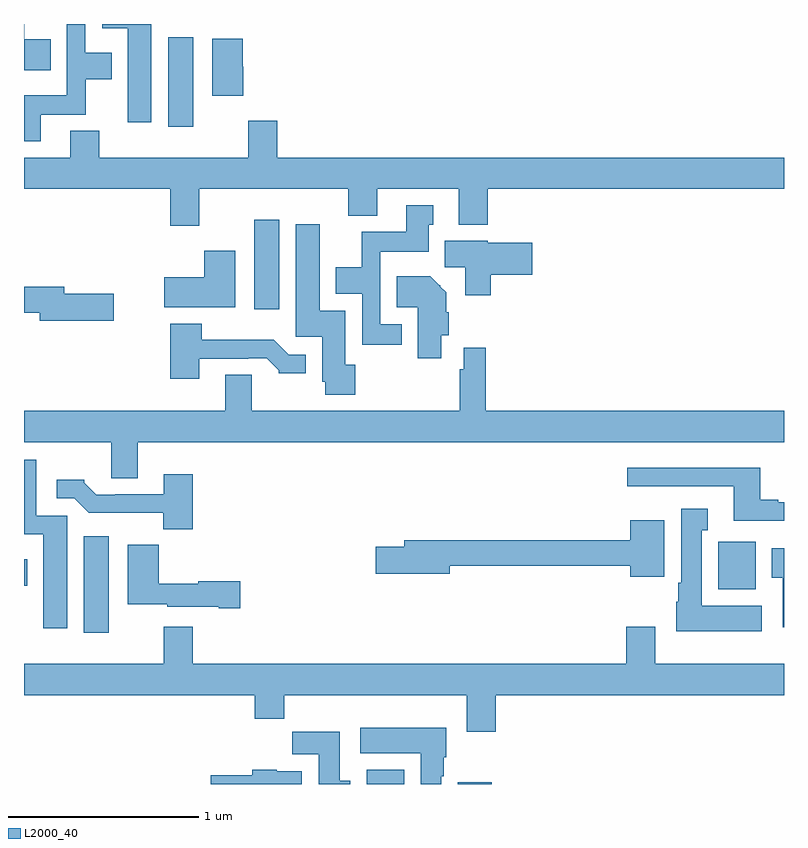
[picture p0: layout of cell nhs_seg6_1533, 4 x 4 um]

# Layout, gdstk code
import gdstk
lib = gdstk.Library(unit=1e-6, precision=1e-09)
def R(c, l, rs):  # rectangles x0, y0, x1, y1
    for r in rs: c.add(gdstk.rectangle(r[:2], r[2:], *l))
def P(c, l, *ps):  # polygons
    for p in ps: c.add(gdstk.Polygon(p, *l))
L2000_40 = (2000, 40)

nhs_seg6_1533 = lib.new_cell('nhs_seg6_1533')
R(nhs_seg6_1533, L2000_40, [(204.803,981.5,205,981.574), (205.283,981.5,205.462,981.508), (203.315,982.296,203.446,982.804), (206.655,982.526,206.851,982.776), (203,982.544,203.017,982.684), (204.212,984,204.343,984.469), (203.759,984.96,203.89,985.429)])
P(nhs_seg6_1533, L2000_40, [(203.671,985.5),(203.412,985.5),(203.412,985.478),(203.546,985.478),(203.546,984.984),(203.671,984.984)],
  [(203.089,985.022),(203.325,985.022),(203.325,985.208),(203.461,985.208),(203.461,985.348),(203.322,985.348),(203.322,985.5),(203.226,985.5),(203.226,985.126),(203,985.126),(203,984.882),(203.089,984.882)],
  [(203.141,985.42),(203.002,985.42),(203.002,985.5),(203,985.5),(203,985.256),(203.141,985.256)],
  [(204.154,985.275),(204.152,985.275),(204.152,985.423),(203.99,985.423),(203.99,985.122),(204.154,985.122)],
  [(203.923,984.632),(204.707,984.632),(204.707,984.491),(204.859,984.491),(204.859,984.632),(205.289,984.632),(205.289,984.443),(205.442,984.443),(205.442,984.632),(207,984.632),(207,984.796),(204.332,984.796),(204.332,984.991),(204.179,984.991),(204.179,984.796),(203.396,984.796),(203.396,984.937),(203.243,984.937),(203.243,984.796),(203,984.796),(203,984.632),(203.771,984.632),(203.771,984.438),(203.923,984.438)],
  [(204.988,983.919),(204.876,983.919),(204.876,984.302),(205.129,984.302),(205.129,984.444),(205.153,984.444),(205.153,984.547),(205.013,984.547),(205.013,984.406),(204.778,984.406),(204.778,984.22),(204.641,984.22),(204.641,984.08),(204.78,984.08),(204.78,983.811),(204.988,983.811)],
  [(204.743,983.706),(204.691,983.706),(204.691,983.992),(204.556,983.992),(204.556,984.445),(204.431,984.445),(204.431,983.853),(204.569,983.853),(204.569,983.616),(204.586,983.616),(204.586,983.55),(204.743,983.55)],
  [(205.457,984.179),(205.675,984.179),(205.675,984.349),(205.44,984.349),(205.44,984.358),(205.214,984.358),(205.214,984.219),(205.322,984.219),(205.322,984.072),(205.457,984.072)],
  [(204.112,984.307),(203.948,984.307),(203.948,984.166),(203.739,984.166),(203.739,984.008),(204.112,984.008)],
  [(205.195,983.862),(205.235,983.862),(205.235,983.984),(205.222,983.984),(205.222,984.087),(205.191,984.118),(205.191,984.126),(205.185,984.126),(205.139,984.172),(204.961,984.172),(204.961,984.008),(205.073,984.008),(205.073,983.742),(205.195,983.742)],
  [(203.473,984.08),(203.212,984.08),(203.212,984.116),(203,984.116),(203,983.98),(203.084,983.98),(203.084,983.938),(203.473,983.938)],
  [(203.923,983.739),(204.179,983.739),(204.179,983.742),(204.278,983.742),(204.342,983.678),(204.342,983.663),(204.484,983.663),(204.484,983.76),(204.393,983.76),(204.315,983.839),(203.936,983.839),(203.936,983.923),(203.771,983.923),(203.771,983.634),(203.923,983.634)],
  [(203.599,983.3),(207,983.3),(207,983.464),(205.43,983.464),(205.43,983.797),(205.314,983.797),(205.314,983.684),(205.294,983.684),(205.294,983.464),(204.199,983.464),(204.199,983.654),(204.059,983.654),(204.059,983.464),(203,983.464),(203,983.3),(203.459,983.3),(203.459,983.11),(203.599,983.11)],
  [(203.227,982.911),(203.064,982.911),(203.064,983.206),(203,983.206),(203,982.814),(203.102,982.814),(203.102,982.32),(203.227,982.32)],
  [(207,982.983),(206.971,982.983),(206.971,982.996),(206.875,982.996),(206.875,983.164),(206.175,983.164),(206.175,983.067),(206.735,983.067),(206.735,982.886),(207,982.886)],
  [(203.888,983.131),(203.735,983.131),(203.735,983.025),(203.479,983.025),(203.479,983.022),(203.38,983.022),(203.316,983.086),(203.316,983.101),(203.172,983.101),(203.172,983.004),(203.265,983.004),(203.341,982.928),(203.733,982.928),(203.733,982.841),(203.888,982.841)],
  [(206.884,982.438),(206.566,982.438),(206.566,982.835),(206.599,982.835),(206.599,982.948),(206.459,982.948),(206.459,982.558),(206.444,982.558),(206.444,982.458),(206.432,982.458),(206.432,982.304),(206.884,982.304)],
  [(206.371,982.888),(206.192,982.888),(206.192,982.784),(205.001,982.784),(205.001,982.748),(204.852,982.748),(204.852,982.606),(205.24,982.606),(205.24,982.648),(206.192,982.648),(206.192,982.592),(206.371,982.592)],
  [(204.139,982.568),(203.916,982.568),(203.916,982.555),(203.708,982.555),(203.708,982.759),(203.546,982.759),(203.546,982.445),(203.754,982.445),(203.754,982.433),(204.026,982.433),(204.026,982.426),(204.139,982.426)],
  [(207,982.741),(206.936,982.741),(206.936,982.585),(206.993,982.585),(206.993,982.326),(207,982.326)],
  [(205.484,981.968),(207,981.968),(207,982.132),(206.323,982.132),(206.323,982.327),(206.171,982.327),(206.171,982.132),(203.888,982.132),(203.888,982.327),(203.735,982.327),(203.735,982.132),(203,982.132),(203,981.968),(204.215,981.968),(204.215,981.844),(204.371,981.844),(204.371,981.968),(205.331,981.968),(205.331,981.774),(205.484,981.774)],
  [(205.195,981.542),(205.21,981.542),(205.21,981.642),(205.222,981.642),(205.222,981.796),(204.771,981.796),(204.771,981.662),(205.088,981.662),(205.088,981.5),(205.195,981.5)],
  [(204.718,981.516),(204.661,981.516),(204.661,981.775),(204.412,981.775),(204.412,981.656),(204.551,981.656),(204.551,981.5),(204.718,981.5)],
  [(204.463,981.568),(204.33,981.568),(204.33,981.574),(204.2,981.574),(204.2,981.546),(203.982,981.546),(203.982,981.5),(204.463,981.5)])

lib.write_gds('nhs_seg6_1533.gds')
